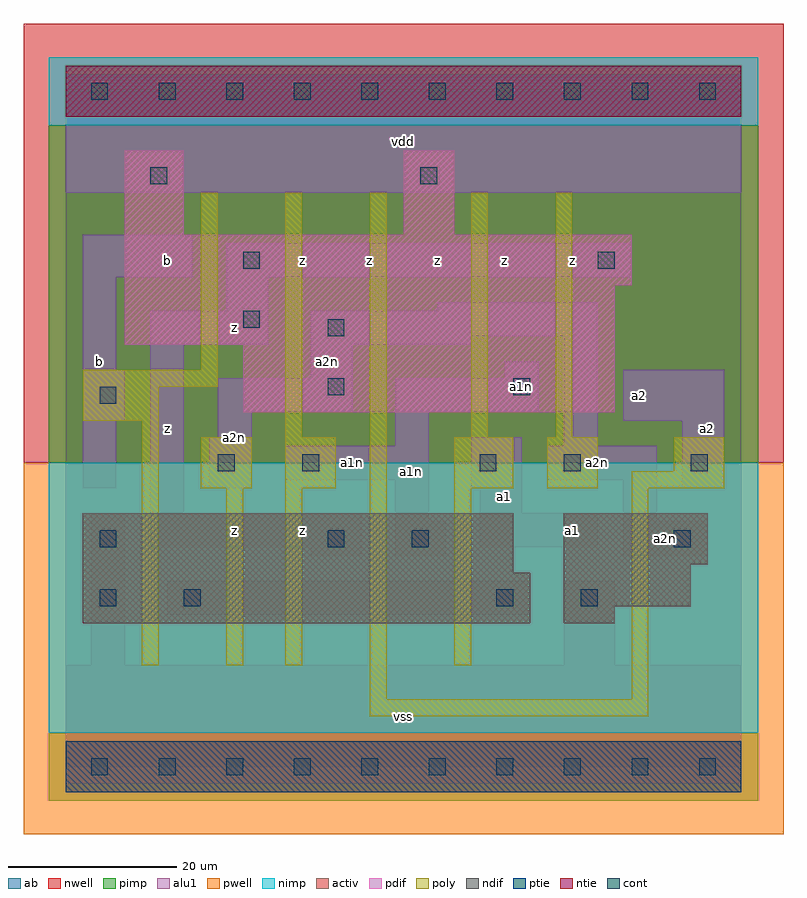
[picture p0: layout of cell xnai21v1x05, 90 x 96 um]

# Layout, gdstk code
import gdstk
lib = gdstk.Library(unit=1e-6, precision=1e-09)
def R(c, l, rs):  # rectangles x0, y0, x1, y1
    for r in rs: c.add(gdstk.rectangle(r[:2], r[2:], *l))
def A(c, l, x, y, w, h, nx, ny, dx, dy):  # array of equal rectangles
    R(c, l, [(x+i*dx, y+j*dy, x+i*dx+w, y+j*dy+h) for i in range(nx) for j in range(ny)])
ndif = (3, 0)
pdif = (4, 0)
ntie = (5, 0)
ptie = (6, 0)
cont = (25, 0)
pwell = (41, 0)
nwell = (42, 0)
activ = (43, 0)
pimp = (44, 0)
nimp = (45, 0)
poly = (46, 0)
alu1 = (49, 0)
ab = (63, 0)

xnai21v1x05 = lib.new_cell('xnai21v1x05')
R(xnai21v1x05, ndif, [(2,17,55,23), (59,17,65,19), (59,19,74,24), (2,23,53,30), (59,24,76,30)])
R(xnai21v1x05, pdif, [(21,42,65,50), (7,50,65,57), (7,57,67,63), (7,63,14,73), (40,63,46,73)])
R(xnai21v1x05, ntie, [(0,77,80,83)])
R(xnai21v1x05, ptie, [(0,-3,80,3)])
A(xnai21v1x05, cont, 3, -1, 2, 2, 10, 2, 8, 80)
R(xnai21v1x05, cont, [(4,19,6,21), (14,19,16,21), (51,19,53,21), (61,19,63,21), (4,26,6,28), (31,26,33,28), (41,26,43,28), (72,26,74,28), (18,35,20,37), (28,35,30,37), (49,35,51,37), (59,35,61,37), (74,35,76,37), (4,43,6,45), (31,44,33,46), (53,44,55,46), (31,51,33,53), (21,52,23,54), (21,59,23,61), (63,59,65,61), (10,69,12,71), (42,69,44,71)])
R(xnai21v1x05, pwell, [(-5,-8,85,36)])
R(xnai21v1x05, nwell, [(-5,36,85,88)])
R(xnai21v1x05, activ, [(0,-3,80,3), (2,17,55,23), (59,17,65,19), (59,19,74,24), (2,23,53,30), (59,24,76,30), (21,42,65,50), (7,50,65,57), (7,57,67,63), (7,63,14,73), (40,63,46,73), (0,77,80,83)])
R(xnai21v1x05, pimp, [(-2,-4,82,4), (-2,36,82,76)])
R(xnai21v1x05, nimp, [(-2,4,82,36), (-2,76,82,84)])
R(xnai21v1x05, poly, [(36,6,69,8), (36,8,38,68), (67,8,69,33), (9,12,11,41), (19,12,21,33), (26,12,28,33), (46,12,48,33), (16,33,22,39), (26,33,32,39), (46,33,53,39), (57,33,63,39), (67,33,78,35), (72,35,78,39), (26,39,28,68), (48,39,50,68), (58,39,60,68), (2,41,11,45), (2,45,18,47), (16,47,18,68)])
R(xnai21v1x05, alu1, [(0,-2,80,12), (3,12,7,30), (59,12,65,22), (12,18,55,22), (29,25,35,26), (39,25,45,29), (66,25,76,29), (10,26,35,30), (49,26,63,30), (39,29,43,34), (66,29,70,34), (10,30,14,50), (49,30,54,33), (2,33,6,41), (17,33,22,39), (48,33,54,39), (73,33,78,41), (26,34,43,38), (57,34,70,38), (39,38,43,42), (59,38,63,51), (18,39,22,42), (2,41,7,47), (66,41,78,47), (18,42,34,46), (39,42,56,46), (29,46,34,50), (52,46,56,48), (2,47,6,58), (10,50,24,54), (29,50,48,51), (29,51,63,54), (19,54,24,58), (44,54,63,55), (2,58,15,63), (19,58,67,62), (0,68,80,82)])
R(xnai21v1x05, ab, [(0,0,80,80)])
xnai21v1x05.add(gdstk.Label('a2n', (31,48), layer=49, texttype=0))
xnai21v1x05.add(gdstk.Label('a2n', (20,39), layer=49, texttype=0))
xnai21v1x05.add(gdstk.Label('a1n', (34,36), layer=49, texttype=0))
xnai21v1x05.add(gdstk.Label('a1n', (54,45), layer=49, texttype=0))
xnai21v1x05.add(gdstk.Label('a1n', (41,35), layer=49, texttype=0))
xnai21v1x05.add(gdstk.Label('a2n', (63,36), layer=49, texttype=0))
xnai21v1x05.add(gdstk.Label('a2n', (71,27), layer=49, texttype=0))
xnai21v1x05.add(gdstk.Label('z', (12,40), layer=49, texttype=0))
xnai21v1x05.add(gdstk.Label('b', (4,48), layer=49, texttype=0))
xnai21v1x05.add(gdstk.Label('b', (12,60), layer=49, texttype=0))
xnai21v1x05.add(gdstk.Label('z', (20,28), layer=49, texttype=0))
xnai21v1x05.add(gdstk.Label('z', (28,28), layer=49, texttype=0))
xnai21v1x05.add(gdstk.Label('z', (20,52), layer=49, texttype=0))
xnai21v1x05.add(gdstk.Label('z', (28,60), layer=49, texttype=0))
xnai21v1x05.add(gdstk.Label('z', (36,60), layer=49, texttype=0))
xnai21v1x05.add(gdstk.Label('vss', (40,6), layer=49, texttype=0))
xnai21v1x05.add(gdstk.Label('a1', (52,32), layer=49, texttype=0))
xnai21v1x05.add(gdstk.Label('z', (52,60), layer=49, texttype=0))
xnai21v1x05.add(gdstk.Label('z', (44,60), layer=49, texttype=0))
xnai21v1x05.add(gdstk.Label('vdd', (40,74), layer=49, texttype=0))
xnai21v1x05.add(gdstk.Label('a1', (60,28), layer=49, texttype=0))
xnai21v1x05.add(gdstk.Label('a2', (68,44), layer=49, texttype=0))
xnai21v1x05.add(gdstk.Label('a2', (76,40), layer=49, texttype=0))
xnai21v1x05.add(gdstk.Label('z', (60,60), layer=49, texttype=0))

lib.write_gds('xnai21v1x05.gds')
